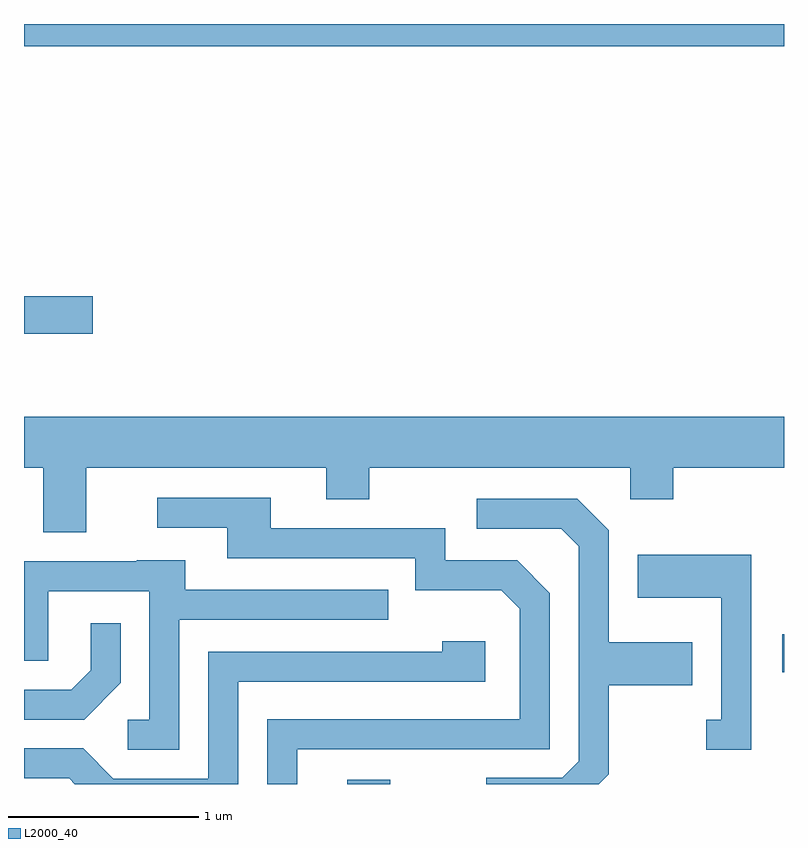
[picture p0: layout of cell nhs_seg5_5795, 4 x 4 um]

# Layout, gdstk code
import gdstk
lib = gdstk.Library(unit=1e-6, precision=1e-09)
def R(c, l, rs):  # rectangles x0, y0, x1, y1
    for r in rs: c.add(gdstk.rectangle(r[:2], r[2:], *l))
def P(c, l, *ps):  # polygons
    for p in ps: c.add(gdstk.Polygon(p, *l))
L2000_40 = (2000, 40)

nhs_seg5_5795 = lib.new_cell('nhs_seg5_5795')
R(nhs_seg5_5795, L2000_40, [(359.311,1404.072,359.539,1404.094), (361.601,1404.661,361.611,1404.859), (357.611,1406.441,357.974,1406.639), (357.611,1407.956,361.611,1408.072)])
P(nhs_seg5_5795, L2000_40, [(357.611,1405.736),(357.711,1405.736),(357.711,1405.396),(357.939,1405.396),(357.939,1405.736),(359.201,1405.736),(359.201,1405.571),(359.429,1405.571),(359.429,1405.736),(360.801,1405.736),(360.801,1405.571),(361.029,1405.571),(361.029,1405.736),(361.611,1405.736),(361.611,1406.004),(357.611,1406.004)],
  [(359.049,1404.256),(360.379,1404.256),(360.379,1405.077),(360.207,1405.249),(359.829,1405.249),(359.829,1405.419),(358.909,1405.419),(358.909,1405.579),(358.313,1405.579),(358.313,1405.421),(358.681,1405.421),(358.681,1405.261),(359.671,1405.261),(359.671,1405.091),(360.124,1405.091),(360.221,1404.994),(360.221,1404.414),(358.891,1404.414),(358.891,1404.072),(359.049,1404.072)],
  [(360.689,1404.124),(360.689,1404.591),(361.129,1404.591),(361.129,1404.819),(360.689,1404.819),(360.689,1405.407),(360.522,1405.574),(359.993,1405.574),(359.993,1405.416),(360.439,1405.416),(360.531,1405.324),(360.531,1404.192),(360.444,1404.104),(360.043,1404.104),(360.043,1404.072),(360.637,1404.072)],
  [(361.439,1405.279),(360.841,1405.279),(360.841,1405.051),(361.281,1405.051),(361.281,1404.409),(361.203,1404.409),(361.203,1404.251),(361.439,1404.251)],
  [(358.429,1404.936),(359.528,1404.936),(359.528,1405.094),(358.459,1405.094),(358.459,1405.249),(358.205,1405.249),(358.205,1405.244),(357.611,1405.244),(357.611,1404.721),(357.739,1404.721),(357.739,1405.086),(358.271,1405.086),(358.271,1404.409),(358.158,1404.409),(358.158,1404.251),(358.429,1404.251)],
  [(358.119,1404.604),(358.119,1404.918),(357.961,1404.918),(357.961,1404.672),(357.859,1404.569),(357.611,1404.569),(357.611,1404.411),(357.927,1404.411)],
  [(358.739,1404.611),(360.039,1404.611),(360.039,1404.824),(359.811,1404.824),(359.811,1404.769),(358.581,1404.769),(358.581,1404.099),(358.082,1404.099),(357.922,1404.259),(357.611,1404.259),(357.611,1404.101),(357.849,1404.101),(357.878,1404.072),(358.739,1404.072)])

lib.write_gds('nhs_seg5_5795.gds')
